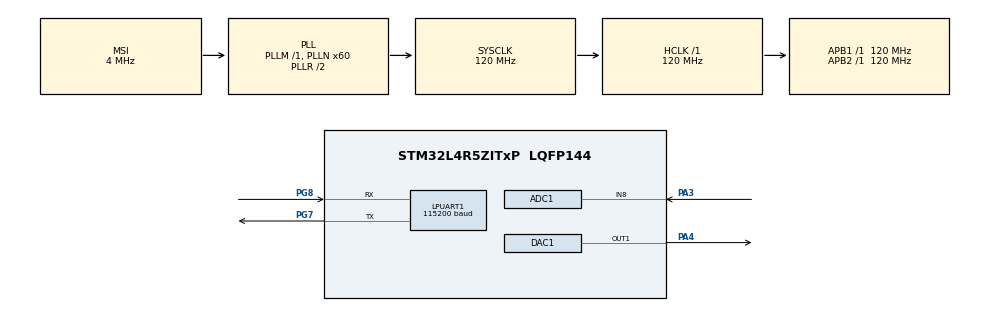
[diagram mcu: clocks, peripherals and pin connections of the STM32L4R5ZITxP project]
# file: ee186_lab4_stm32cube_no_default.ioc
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ADC1.Channel-1\#ChannelRegularConversion=ADC_CHANNEL_8
ADC1.ClockPrescaler=ADC_CLOCK_ASYNC_DIV8
ADC1.ContinuousConvMode=ENABLE
ADC1.DMAContinuousRequests=ENABLE
ADC1.NbrOfConversionFlag=1
ADC1.OffsetNumber-1\#ChannelRegularConversion=ADC_OFFSET_NONE
ADC1.Rank-1\#ChannelRegularConversion=1
ADC1.SamplingTime-1\#ChannelRegularConversion=ADC_SAMPLETIME_92CYCLES_5
ADC1.master=1
Dma.ADC1.0.Direction=DMA_PERIPH_TO_MEMORY
Dma.ADC1.0.EventEnable=DISABLE
Dma.ADC1.0.Instance=DMA1_Channel1
Dma.ADC1.0.MemDataAlignment=DMA_MDATAALIGN_HALFWORD
Dma.ADC1.0.MemInc=DMA_MINC_ENABLE
Dma.ADC1.0.Mode=DMA_CIRCULAR
Dma.ADC1.0.PeriphDataAlignment=DMA_PDATAALIGN_HALFWORD
Dma.ADC1.0.PeriphInc=DMA_PINC_DISABLE
Dma.ADC1.0.Polarity=HAL_DMAMUX_REQUEST_GEN_RISING
Dma.ADC1.0.Priority=DMA_PRIORITY_LOW
Dma.ADC1.0.RequestNumber=1
Dma.ADC1.0.SignalID=NONE
Dma.ADC1.0.SyncEnable=DISABLE
Dma.ADC1.0.SyncPolarity=HAL_DMAMUX_SYNC_NO_EVENT
Dma.ADC1.0.SyncRequestNumber=1
Dma.ADC1.0.SyncSignalID=NONE
Dma.Request0=ADC1
LPUART1.BaudRate=115200
LPUART1.WordLength=UART_WORDLENGTH_8B
Mcu.Family=STM32L4
Mcu.Name=STM32L4R5ZITxP
Mcu.Package=LQFP144
NVIC.DMA1_Channel1_IRQn=true\:0\:0\:false\:false\:true\:false\:true\:true
NVIC.PriorityGroup=NVIC_PRIORITYGROUP_4
PA0.Signal=S_TIM2_CH1
PA1.Signal=ADCx_IN6
PA10.Signal=USB_OTG_FS_ID
PA13\ (JTMS/SWDIO).Signal=SYS_JTMS-SWDIO
PA14\ (JTCK/SWCLK).Signal=SYS_JTCK-SWCLK
PA3.Signal=ADCx_IN8
PA4.Signal=COMP_DAC11_group
PA5.Signal=SPI1_SCK
PA6.Signal=SPI1_MISO
PA7.Signal=SPI1_MOSI
PA8.Signal=USB_OTG_FS_SOF
PA9.Signal=USB_OTG_FS_VBUS
PB0.Signal=S_TIM3_CH3
PB1.Signal=ADCx_IN16
PB10.Signal=S_TIM2_CH3
PB12.Signal=SAI2_FS_A
PB13.Signal=SAI2_SCK_A
PB14.Signal=S_TIM15_CH1
PB15.Signal=SAI2_SD_A
PB2.Signal=COMP1_INP
PB3\ (JTDO/TRACESWO).Signal=SPI3_SCK
PB4\ (NJTRST).Signal=SPI3_MISO
PB5.Signal=SPI3_MOSI
PB6.Signal=COMP2_INP
PB8.Signal=I2C1_SCL
PB9.Signal=I2C1_SDA
PC0.Signal=ADCx_IN1
PC1.Signal=ADCx_IN2
PC10.Signal=SDMMC1_D2
PC11.Signal=SDMMC1_D3
PC12.Signal=SDMMC1_CK
PC13.Signal=SYS_WKUP2
PC14-OSC32_IN\ (PC14).Signal=RCC_OSC32_IN
PC15-OSC32_OUT\ (PC15).Signal=RCC_OSC32_OUT
PC2.Signal=ADCx_IN3
PC3.Signal=ADCx_IN4
PC4.Signal=ADCx_IN13
PC5.Signal=ADCx_IN14
PC6.Signal=SAI2_MCLK_A
PC7.Signal=S_TIM3_CH2
PC8.Signal=SDMMC1_D0
PC9.Signal=SDMMC1_D1
PD0.Signal=CAN1_RX
PD14.Signal=S_TIM4_CH3
PD15.Signal=S_TIM4_CH4
PD2.Signal=SDMMC1_CMD
PD3.Signal=USART2_CTS
PD4.Signal=USART2_RTS
PD5.Signal=USART2_TX
PD6.Signal=USART2_RX
PD8.Signal=USART3_TX
PD9.Signal=USART3_RX
PE0.Signal=S_TIM4_ETR
PE10.Signal=TIM1_CH2N
PE11.Signal=S_TIM1_CH2
PE12.Signal=TIM1_CH3N
PE13.Signal=S_TIM1_CH3
PE14.Signal=TIM1_BKIN2
PE15.Signal=TIM1_BKIN
PE2.Signal=SAI1_MCLK_A
PE3.Signal=SAI1_SD_B
PE7.Signal=S_TIM1_ETR
PE8.Signal=TIM1_CH1N
PE9.Signal=S_TIM1_CH1
PF0.Signal=I2C2_SDA
PF1.Signal=I2C2_SCL
PF2.Signal=I2C2_SMBA
PF7.Signal=SAI1_MCLK_B
PG7.Mode=Asynchronous
PG7.Signal=LPUART1_TX
PG8.Mode=Asynchronous
PG8.Signal=LPUART1_RX
PG9.Signal=USART1_TX
PG9.Stacked=true
PH0-OSC_IN\ (PH0).Signal=RCC_OSC_IN
PH1-OSC_OUT\ (PH1).Signal=RCC_OSC_OUT
ProjectManager.HeapSize=0x200
ProjectManager.StackSize=0x400
ProjectManager.TargetToolchain=STM32CubeIDE
RCC.ADCFreq_Value=48000000
RCC.AHBFreq_Value=120000000
RCC.APB1Freq_Value=120000000
RCC.APB1TimFreq_Value=120000000
RCC.APB2Freq_Value=120000000
RCC.APB2TimFreq_Value=120000000
RCC.CortexFreq_Value=120000000
RCC.HCLKFreq_Value=120000000
RCC.HSE_VALUE=8000000
RCC.HSI48_VALUE=48000000
RCC.HSI_VALUE=16000000
RCC.LSE_VALUE=32768
RCC.MSI_VALUE=4000000
RCC.PLLN=60
RCC.PLLSAI1N=24
RCC.SYSCLKFreq_VALUE=120000000
RCC.SYSCLKSource=RCC_SYSCLKSOURCE_PLLCLK
RCC.USBFreq_Value=48000000
RCC.VCOOutputFreq_Value=240000000
SH.ADCx_IN1.0=ADC1_IN1
SH.ADCx_IN13.0=ADC1_IN13
SH.ADCx_IN14.0=ADC1_IN14
SH.ADCx_IN16.0=ADC1_IN16
SH.ADCx_IN2.0=ADC1_IN2
SH.ADCx_IN3.0=ADC1_IN3
SH.ADCx_IN4.0=ADC1_IN4
SH.ADCx_IN6.0=ADC1_IN6
SH.ADCx_IN8.0=ADC1_IN8,IN8-Single-Ended
SH.COMP_DAC11_group.0=DAC1_OUT1,DAC_OUT1
SH.S_TIM15_CH1.0=TIM15_CH1
SH.S_TIM1_CH1.0=TIM1_CH1
SH.S_TIM1_CH2.0=TIM1_CH2
SH.S_TIM1_CH3.0=TIM1_CH3
SH.S_TIM1_ETR.0=TIM1_ETR
SH.S_TIM2_CH1.0=TIM2_CH1
SH.S_TIM2_CH3.0=TIM2_CH3
SH.S_TIM3_CH2.0=TIM3_CH2
SH.S_TIM3_CH3.0=TIM3_CH3
SH.S_TIM4_CH3.0=TIM4_CH3
SH.S_TIM4_CH4.0=TIM4_CH4
SH.S_TIM4_ETR.0=TIM4_ETR
board=NUCLEO-L4R5ZI-P

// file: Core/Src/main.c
/* USER CODE BEGIN Header */
/**
  ******************************************************************************
  * @file           : main.c
  * @brief          : Main program body
  ******************************************************************************
  * @attention
  *
  * Copyright (c) 2025 STMicroelectronics.
  * All rights reserved.
  *
  * This software is licensed under terms that can be found in the LICENSE file
  * in the root directory of this software component.
  * If no LICENSE file comes with this software, it is provided AS-IS.
  *
  ******************************************************************************
  */
/* USER CODE END Header */
#include "main.h"
#include "adc.h"
#include "dac.h"
#include "dma.h"
#include "usart.h"
#include "gpio.h"

/* USER CODE BEGIN Includes */

#include <math.h>
#include <stdio.h>
#include <string.h>
#include "utils.h"

/* USER CODE END Includes */

/* USER CODE BEGIN PV */
volatile uint32_t value_adc;

/* USER CODE END PV */

void SystemClock_Config(void);

int main(void)
{

  /* MCU Configuration--------------------------------------------------------*/

  /* Reset of all peripherals, Initializes the Flash interface and the Systick. */
  HAL_Init();

  /* Configure the system clock */
  SystemClock_Config();

  /* Initialize all configured peripherals */
  MX_GPIO_Init();
  MX_DMA_Init();
  MX_ADC1_Init();
  MX_LPUART1_UART_Init();
  MX_DAC1_Init();
  /* USER CODE BEGIN 2 */

  HAL_DAC_Start(&hdac1, DAC_CHANNEL_1);

  HAL_ADCEx_Calibration_Start(&hadc1, ADC_SINGLE_ENDED);
  // configure direct memory access to value_adc
  HAL_ADC_Start_DMA(&hadc1,(uint32_t*)&value_adc,1);

  /* USER CODE END 2 */

  /* Infinite loop */
  /* USER CODE BEGIN WHILE */
  printf("\r\n Beginning primary software loop \n");
  char buf[50];

  // PART 3:
  int i = 0;
  int state = 0;

  float voltage_scale = 4095 / 3.3;
  float v_i = 0;
  float v_adc = 0;

  while (1)
  {
    /* USER CODE END WHILE */

    /* USER CODE BEGIN 3 */

	// PART 2:
	 /*
	sprintf(buf, "ADC: %lu\r\n", value_adc);
	printf("%s", buf);
	HAL_Delay(100);
	 */

	// PART 3:

	if(!state) {
		if (i < 4000) i+= 100;
		else state = !state;
	} else {
		if (i > 0) i -= 100;
		else state = !state;
	}

	// DAC
	HAL_DAC_SetValue(&hdac1, DAC_CHANNEL_1, DAC_ALIGN_12B_R, i);
	HAL_Delay(1); // for settling of DAC and propagation to ADC

	v_i = (float)i / voltage_scale;
	v_adc = (float)value_adc / voltage_scale;
	sprintf(buf, "DAC: %.4f V,\tADC: %.4f V,\tDiff: %.4f V\r\n",
			v_i,
			v_adc,
			v_adc-v_i);
	printf("%s", buf);

	HAL_Delay(100);

  }
  /* USER CODE END 3 */
}

void SystemClock_Config(void)
{
  RCC_OscInitTypeDef RCC_OscInitStruct = {0};
  RCC_ClkInitTypeDef RCC_ClkInitStruct = {0};

  /** Configure the main internal regulator output voltage
  */
  if (HAL_PWREx_ControlVoltageScaling(PWR_REGULATOR_VOLTAGE_SCALE1_BOOST) != HAL_OK)
  {
    Error_Handler();
  }

  /** Initializes the RCC Oscillators according to the specified parameters
  * in the RCC_OscInitTypeDef structure.
  */
  RCC_OscInitStruct.OscillatorType = RCC_OSCILLATORTYPE_MSI;
  RCC_OscInitStruct.MSIState = RCC_MSI_ON;
  RCC_OscInitStruct.MSICalibrationValue = 0;
  RCC_OscInitStruct.MSIClockRange = RCC_MSIRANGE_6;
  RCC_OscInitStruct.PLL.PLLState = RCC_PLL_ON;
  RCC_OscInitStruct.PLL.PLLSource = RCC_PLLSOURCE_MSI;
  RCC_OscInitStruct.PLL.PLLM = 1;
  RCC_OscInitStruct.PLL.PLLN = 60;
  RCC_OscInitStruct.PLL.PLLP = RCC_PLLP_DIV2;
  RCC_OscInitStruct.PLL.PLLQ = RCC_PLLQ_DIV2;
  RCC_OscInitStruct.PLL.PLLR = RCC_PLLR_DIV2;
  if (HAL_RCC_OscConfig(&RCC_OscInitStruct) != HAL_OK)
  {
    Error_Handler();
  }

  /** Initializes the CPU, AHB and APB buses clocks
  */
  RCC_ClkInitStruct.ClockType = RCC_CLOCKTYPE_HCLK|RCC_CLOCKTYPE_SYSCLK
                              |RCC_CLOCKTYPE_PCLK1|RCC_CLOCKTYPE_PCLK2;
  RCC_ClkInitStruct.SYSCLKSource = RCC_SYSCLKSOURCE_PLLCLK;
  RCC_ClkInitStruct.AHBCLKDivider = RCC_SYSCLK_DIV1;
  RCC_ClkInitStruct.APB1CLKDivider = RCC_HCLK_DIV1;
  RCC_ClkInitStruct.APB2CLKDivider = RCC_HCLK_DIV1;

  if (HAL_RCC_ClockConfig(&RCC_ClkInitStruct, FLASH_LATENCY_5) != HAL_OK)
  {
    Error_Handler();
  }
}

void Error_Handler(void)
{
  __disable_irq();
  while (1)
  {
  }
}
